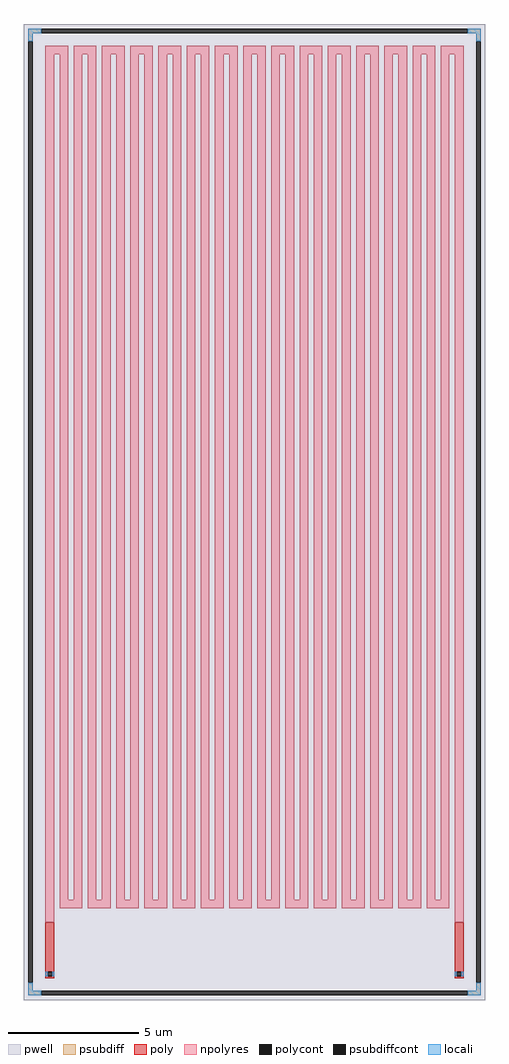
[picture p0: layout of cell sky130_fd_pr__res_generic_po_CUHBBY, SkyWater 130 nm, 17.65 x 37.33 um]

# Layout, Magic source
magic
tech sky130B
magscale 1 2
<< pwell >>
rect -1765 -3733 1765 3733
<< psubdiff >>
rect -1729 3663 -1633 3697
rect 1633 3663 1729 3697
rect -1729 3601 -1695 3663
rect 1695 3601 1729 3663
rect -1729 -3663 -1695 -3601
rect 1695 -3663 1729 -3601
rect -1729 -3697 -1633 -3663
rect 1633 -3697 1729 -3663
<< psubdiffcont >>
rect -1633 3663 1633 3697
rect -1729 -3601 -1695 3601
rect 1695 -3601 1729 3601
rect -1633 -3697 1633 -3663
<< poly >>
rect -1599 -3517 -1533 -3137
rect -1599 -3551 -1583 -3517
rect -1549 -3551 -1533 -3517
rect -1599 -3567 -1533 -3551
rect 1533 -3517 1599 -3137
rect 1533 -3551 1549 -3517
rect 1583 -3551 1599 -3517
rect 1533 -3567 1599 -3551
<< polycont >>
rect -1583 -3551 -1549 -3517
rect 1549 -3551 1583 -3517
<< npolyres >>
rect -1599 3501 -1425 3567
rect -1599 -3137 -1533 3501
rect -1491 -2967 -1425 3501
rect -1383 3501 -1209 3567
rect -1383 -2967 -1317 3501
rect -1491 -3033 -1317 -2967
rect -1275 -2967 -1209 3501
rect -1167 3501 -993 3567
rect -1167 -2967 -1101 3501
rect -1275 -3033 -1101 -2967
rect -1059 -2967 -993 3501
rect -951 3501 -777 3567
rect -951 -2967 -885 3501
rect -1059 -3033 -885 -2967
rect -843 -2967 -777 3501
rect -735 3501 -561 3567
rect -735 -2967 -669 3501
rect -843 -3033 -669 -2967
rect -627 -2967 -561 3501
rect -519 3501 -345 3567
rect -519 -2967 -453 3501
rect -627 -3033 -453 -2967
rect -411 -2967 -345 3501
rect -303 3501 -129 3567
rect -303 -2967 -237 3501
rect -411 -3033 -237 -2967
rect -195 -2967 -129 3501
rect -87 3501 87 3567
rect -87 -2967 -21 3501
rect -195 -3033 -21 -2967
rect 21 -2967 87 3501
rect 129 3501 303 3567
rect 129 -2967 195 3501
rect 21 -3033 195 -2967
rect 237 -2967 303 3501
rect 345 3501 519 3567
rect 345 -2967 411 3501
rect 237 -3033 411 -2967
rect 453 -2967 519 3501
rect 561 3501 735 3567
rect 561 -2967 627 3501
rect 453 -3033 627 -2967
rect 669 -2967 735 3501
rect 777 3501 951 3567
rect 777 -2967 843 3501
rect 669 -3033 843 -2967
rect 885 -2967 951 3501
rect 993 3501 1167 3567
rect 993 -2967 1059 3501
rect 885 -3033 1059 -2967
rect 1101 -2967 1167 3501
rect 1209 3501 1383 3567
rect 1209 -2967 1275 3501
rect 1101 -3033 1275 -2967
rect 1317 -2967 1383 3501
rect 1425 3501 1599 3567
rect 1425 -2967 1491 3501
rect 1317 -3033 1491 -2967
rect 1533 -3137 1599 3501
<< locali >>
rect -1729 3663 -1633 3697
rect 1633 3663 1729 3697
rect -1729 3601 -1695 3663
rect 1695 3601 1729 3663
rect -1599 -3551 -1583 -3517
rect -1549 -3551 -1533 -3517
rect 1533 -3551 1549 -3517
rect 1583 -3551 1599 -3517
rect -1729 -3663 -1695 -3601
rect 1695 -3663 1729 -3601
rect -1729 -3697 -1633 -3663
rect 1633 -3697 1729 -3663
<< properties >>
string FIXED_BBOX -1712 -3680 1712 3680
string gencell sky130_fd_pr__res_generic_po
string library sky130
string parameters w 0.330 l 33 m 1 nx 30 wmin 0.330 lmin 1.650 rho 48.2 val 147.692k dummy 0 dw 0.0 term 0.0 sterm 0.0 caplen 0.4 snake 1 guard 1 glc 1 grc 1 gtc 1 gbc 1 roverlap 0 endcov 100 full_metal 1 hv_guard 0 n_guard 0 vias 1 viagb 0 viagt 0 viagl 0 viagr 0
<< end >>
